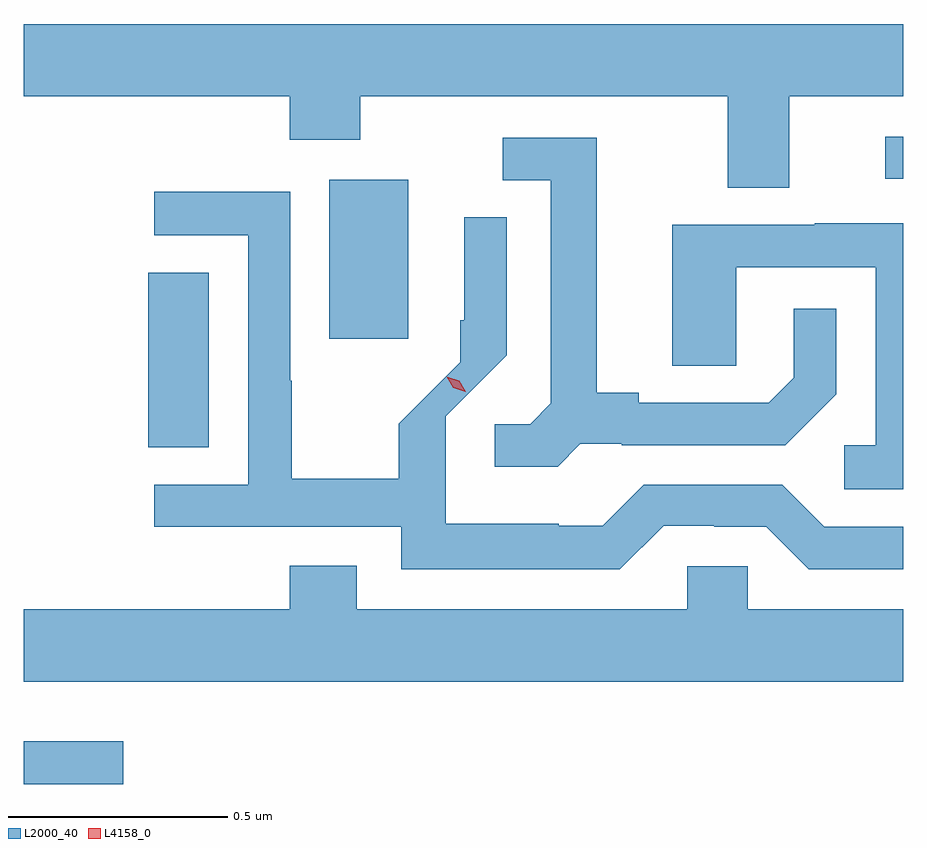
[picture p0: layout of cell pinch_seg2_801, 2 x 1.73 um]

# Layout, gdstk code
import gdstk
lib = gdstk.Library(unit=1e-6, precision=1e-09)
def R(c, l, rs):  # rectangles x0, y0, x1, y1
    for r in rs: c.add(gdstk.rectangle(r[:2], r[2:], *l))
def P(c, l, *ps):  # polygons
    for p in ps: c.add(gdstk.Polygon(p, *l))
L2000_40 = (2000, 40)
L4158_0 = (4158, 0)

pinch_seg2_801 = lib.new_cell('pinch_seg2_801')
R(pinch_seg2_801, L2000_40, [(675.228,626.091,675.454,626.188), (675.511,626.857,675.649,627.254), (675.923,627.104,676.102,627.466), (677.187,627.468,677.228,627.564)])
P(pinch_seg2_801, L2000_40, [(676.969,627.656),(677.228,627.656),(677.228,627.82),(675.228,627.82),(675.228,627.656),(675.833,627.656),(675.833,627.557),(675.993,627.557),(675.993,627.656),(676.829,627.656),(676.829,627.448),(676.969,627.448)],
  [(676.494,626.865),(676.588,626.865),(676.588,626.862),(676.96,626.862),(677.076,626.978),(677.076,627.172),(676.979,627.172),(676.979,627.015),(676.922,626.958),(676.627,626.958),(676.627,626.981),(676.531,626.981),(676.531,627.561),(676.317,627.561),(676.317,627.465),(676.427,627.465),(676.427,626.957),(676.38,626.91),(676.299,626.91),(676.299,626.813),(676.442,626.813)],
  [(676.683,626.679),(676.799,626.679),(676.799,626.676),(676.917,626.676),(677.013,626.58),(677.228,626.58),(677.228,626.676),(677.049,626.676),(676.953,626.772),(676.638,626.772),(676.545,626.679),(676.445,626.679),(676.445,626.683),(676.188,626.683),(676.188,626.928),(676.326,627.066),(676.326,627.38),(676.23,627.38),(676.23,627.146),(676.221,627.146),(676.221,627.051),(676.081,626.911),(676.081,626.785),(675.837,626.785),(675.837,627.008),(675.834,627.008),(675.834,627.438),(675.525,627.438),(675.525,627.339),(675.738,627.339),(675.738,626.772),(675.525,626.772),(675.525,626.676),(676.086,626.676),(676.086,626.579),(676.583,626.579)],
  [(677.228,627.367),(677.027,627.367),(677.027,627.363),(676.703,627.363),(676.703,627.043),(676.848,627.043),(676.848,627.267),(677.166,627.267),(677.166,626.862),(677.094,626.862),(677.094,626.761),(677.228,626.761)],
  [(677.228,626.488),(676.875,626.488),(676.875,626.586),(676.737,626.586),(676.737,626.488),(675.985,626.488),(675.985,626.587),(675.833,626.587),(675.833,626.488),(675.228,626.488),(675.228,626.324),(677.228,626.324)])
P(pinch_seg2_801, L4158_0, [(676.232,626.983),(676.205,626.992),(676.19,627.017),(676.19,627.017),(676.19,627.017),(676.218,627.008),(676.233,626.983),(676.233,626.983)])

lib.write_gds('pinch_seg2_801.gds')
